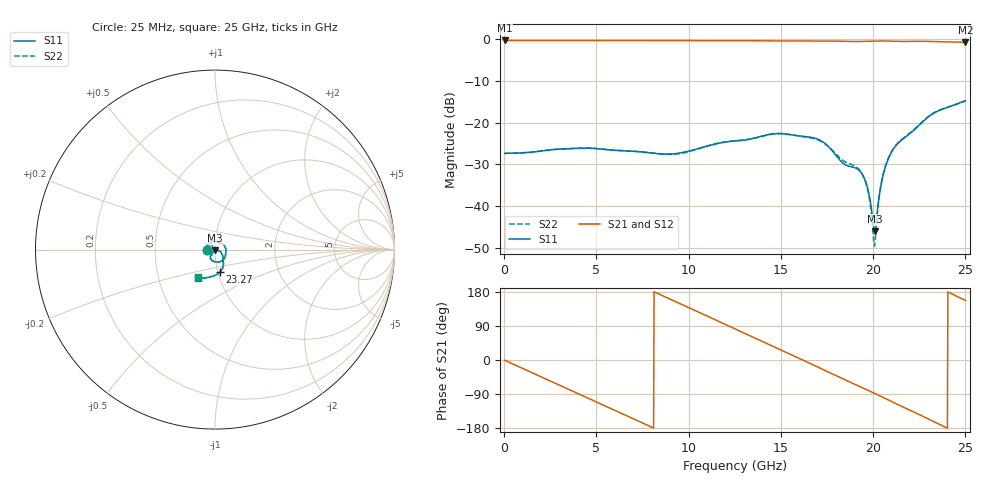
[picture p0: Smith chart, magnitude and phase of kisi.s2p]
! R_s4_rect_n4: Finite board 24 × 16 mm, via L1 → L4 through the L2/L3 cavity, four GND vias at 1 mm
! stackup: 4-layer 1.6 mm FR-4
! ports: 1 L1, 2 L4
! kisi-fdtd, conformal, dfine 0.07 mm, 682640 cells
# Hz S RI R 50
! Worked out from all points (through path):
!   1000 points, 25 MHz to 25 GHz, reference 50 ohm
!   highest |S21| = -0.38 dB at 25 MHz (marker M1); lowest = -0.8 dB at 25 GHz (marker M2)
!   group delay of S21, straight-line fit = 62.3 ps
!   lowest |S11| = -46.0 dB at 20.07 GHz (marker M3), VSWR 1.01, Z = 50.1 - j0.494 ohm
!   |S11| at or under -10 dB: start of sweep to end of sweep
!   |S22| runs from -49.5 to -14.8 dB; largest |S21 - S12| = 7.1e-07
!   S11 on the Smith chart (normalised r, x): 25 MHz: 0.92, +0.00; 23.27 GHz: 1.02, -0.26; 25 GHz: 0.79, -0.26
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2.5e7  -0.0428 8.21e-05  0.9574 -0.00925  0.9574 -0.00925  -0.0429 8.97e-05
1.175e9  -0.0435 0.00439  0.86 -0.4195  0.86 -0.4195  -0.0434 0.00434
2.4e9  -0.0455 0.0115  0.575 -0.7648  0.575 -0.7648  -0.0454 0.0115
4.2e9  -0.0408 0.0279  -0.0481 -0.9554  -0.0481 -0.9554  -0.041 0.028
5.3e9  -0.0311 0.0367  -0.4386 -0.8503  -0.4386 -0.8503  -0.0312 0.0368
6.5e9  -0.0193 0.0418  -0.7719 -0.5636  -0.7719 -0.5636  -0.0191 0.0419
8.35e9  0.00323 0.0422  -0.9526 0.0838  -0.9526 0.0838  0.0034 0.0424
9.425e9  0.0148 0.0403  -0.8341 0.4626  -0.8341 0.4626  0.0149 0.0396
1.0625e10  0.0341 0.036  -0.5367 0.7848  -0.5367 0.7848  0.0334 0.0364
1.2525e10  0.0603 -0.00231  0.1339 0.9433  0.1339 0.9433  0.0603 -0.00244
1.36e10  0.0592 -0.028  0.5062 0.801  0.5062 0.801  0.0591 -0.0276
1.4825e10  0.0414 -0.061  0.8154 0.4799  0.8154 0.4799  0.0418 -0.0611
1.6675e10  -0.009 -0.0658  0.9242 -0.183  0.9242 -0.183  -0.00844 -0.0646
1.78e10  -0.026 -0.0374  0.7545 -0.5655  0.7545 -0.5655  -0.0246 -0.0393
1.9325e10  -0.0144 -0.0211  0.3066 -0.8801  0.3066 -0.8801  -0.0165 -0.0201
1.97e10  -0.0108 -0.0125  0.1761 -0.9207  0.1761 -0.9207  -0.0118 -0.0107
2.0075e10  0.00101 -0.00493  0.0348 -0.9423  0.0348 -0.9423  0.00108 -0.00315
2.045e10  0.0182 -0.00553  -0.1121 -0.9378  -0.1121 -0.9378  0.019 -0.00421
2.085e10  0.0342 -0.017  -0.264 -0.9029  -0.264 -0.9029  0.0353 -0.0162
2.2075e10  0.0449 -0.0618  -0.6498 -0.6703  -0.6498 -0.6703  0.046 -0.0625
2.3275e10  0.0265 -0.1262  -0.8866 -0.2787  -0.8866 -0.2787  0.0259 -0.1278
2.5e10  -0.0936 -0.1567  -0.8387 0.3529  -0.8387 0.3529  -0.0935 -0.1554
